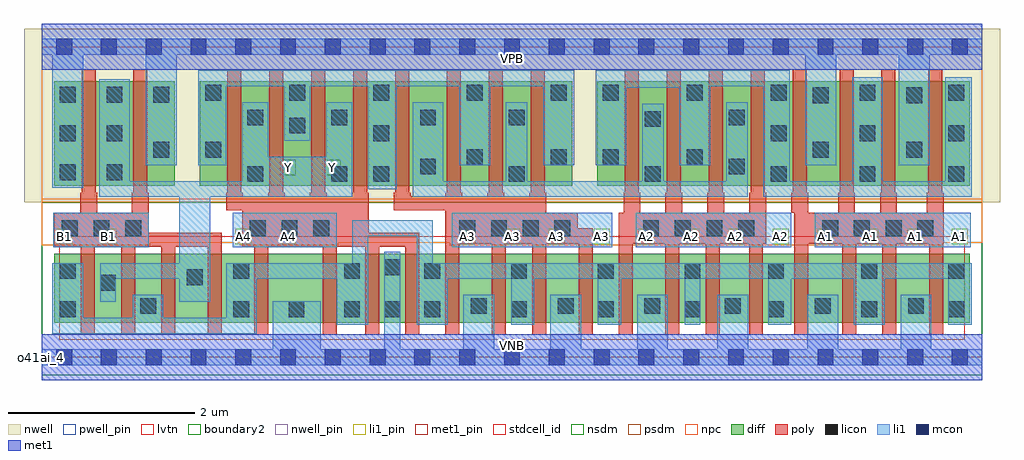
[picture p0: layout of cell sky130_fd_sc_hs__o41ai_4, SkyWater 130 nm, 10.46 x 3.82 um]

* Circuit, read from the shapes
.subckt sky130_fd_sc_hs__o41ai_4 A1 A2 A3 A4 B1 VGND VNB VPB VPWR Y
XM1 Y B1 n1 VNB sky130_fd_pr__nfet_01v8_lvt w=0.74 l=0.15 m=4
XM2 VGND A4 n1 VNB sky130_fd_pr__nfet_01v8_lvt w=0.74 l=0.15 m=4
XM3 VGND A3 n1 VNB sky130_fd_pr__nfet_01v8_lvt w=0.74 l=0.15 m=4
XM4 VGND A2 n1 VNB sky130_fd_pr__nfet_01v8_lvt w=0.74 l=0.15 m=4
XM5 VGND A1 n1 VNB sky130_fd_pr__nfet_01v8_lvt w=0.74 l=0.15 m=4
XM6 Y B1 VPWR VPB sky130_fd_pr__pfet_01v8 w=1.12 l=0.15 m=2
XM7 Y A4 n2 VPB sky130_fd_pr__pfet_01v8 w=1.12 l=0.15 m=4
XM8 n3 A3 n2 VPB sky130_fd_pr__pfet_01v8 w=1.12 l=0.15 m=4
XM9 n3 A2 n4 VPB sky130_fd_pr__pfet_01v8 w=1.12 l=0.15 m=4
XM10 VPWR A1 n4 VPB sky130_fd_pr__pfet_01v8 w=1.12 l=0.15 m=4
.ends

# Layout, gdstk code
import gdstk
lib = gdstk.Library(unit=1e-6, precision=1e-09)
def R(c, l, rs):  # rectangles x0, y0, x1, y1
    for r in rs: c.add(gdstk.rectangle(r[:2], r[2:], *l))
def A(c, l, x, y, w, h, nx, ny, dx, dy):  # array of equal rectangles
    R(c, l, [(x+i*dx, y+j*dy, x+i*dx+w, y+j*dy+h) for i in range(nx) for j in range(ny)])
def P(c, l, *ps):  # polygons
    for p in ps: c.add(gdstk.Polygon(p, *l))
nwell_pin = (64, 16)
nwell = (64, 20)
diff = (65, 20)
poly = (66, 20)
licon = (66, 44)
li1_pin = (67, 16)
li1 = (67, 20)
mcon = (67, 44)
met1_pin = (68, 16)
met1 = (68, 20)
stdcell_id = (81, 4)
nsdm = (93, 44)
psdm = (94, 20)
npc = (95, 20)
pwell_pin = (122, 16)
lvtn = (125, 44)
boundary2 = (236, 0)

sky130_fd_sc_hs__o41ai_4 = lib.new_cell('sky130_fd_sc_hs__o41ai_4')
R(sky130_fd_sc_hs__o41ai_4, nwell_pin, [(0,3.085,10.08,3.33)])
R(sky130_fd_sc_hs__o41ai_4, nwell, [(-0.19,1.66,10.27,3.52)])
R(sky130_fd_sc_hs__o41ai_4, diff, [(0.135,0.37,9.945,1.11), (0.135,1.84,1.425,2.96), (1.695,1.84,5.685,2.96), (5.955,1.84,9.945,2.96)])
P(sky130_fd_sc_hs__o41ai_4, poly, [(1.93,1.335),(1.145,1.335),(1.145,1.765),(1.13,1.765),(1.13,3.09),(0.98,3.09),(0.98,1.765),(0.965,1.765),(0.965,1.55),(0.595,1.55),(0.595,1.765),(0.58,1.765),(0.58,3.09),(0.43,3.09),(0.43,1.765),(0.415,1.765),(0.415,1.55),(0.135,1.55),(0.135,1.185),(0.42,1.185),(0.42,0.24),(0.57,0.24),(0.57,1.185),(0.85,1.185),(0.85,0.24),(1,0.24),(1,1.185),(1.28,1.185),(1.28,0.24),(1.43,0.24),(1.43,1.185),(1.78,1.185),(1.78,0.24),(1.93,0.24)],
  [(4.045,1.335),(3.505,1.335),(3.505,1.765),(3.49,1.765),(3.49,3.09),(3.34,3.09),(3.34,1.765),(3.325,1.765),(3.325,1.725),(3.055,1.725),(3.055,1.765),(3.04,1.765),(3.04,3.09),(2.89,3.09),(2.89,1.765),(2.875,1.765),(2.875,1.725),(2.605,1.725),(2.605,1.765),(2.59,1.765),(2.59,3.09),(2.44,3.09),(2.44,1.765),(2.425,1.765),(2.425,1.725),(2.155,1.725),(2.155,1.765),(2.14,1.765),(2.14,3.09),(1.99,3.09),(1.99,1.765),(1.975,1.765),(1.975,1.575),(2.15,1.575),(2.15,1.185),(2.28,1.185),(2.28,0.24),(2.43,0.24),(2.43,1.185),(3.01,1.185),(3.01,0.24),(3.16,0.24),(3.16,1.185),(3.465,1.185),(3.465,0.24),(3.615,0.24),(3.615,1.185),(3.895,1.185),(3.895,0.24),(4.045,0.24)],
  [(5.905,1.385),(5.745,1.385),(5.745,1.55),(5.405,1.55),(5.405,1.765),(5.39,1.765),(5.39,3.09),(5.24,3.09),(5.24,1.765),(5.225,1.765),(5.225,1.725),(4.955,1.725),(4.955,1.765),(4.94,1.765),(4.94,3.09),(4.79,3.09),(4.79,1.765),(4.775,1.765),(4.775,1.725),(4.505,1.725),(4.505,1.765),(4.49,1.765),(4.49,3.09),(4.34,3.09),(4.34,1.765),(4.325,1.765),(4.325,1.725),(3.955,1.725),(3.955,1.765),(3.94,1.765),(3.94,3.09),(3.79,3.09),(3.79,1.765),(3.775,1.765),(3.775,1.575),(4.325,1.575),(4.325,0.24),(4.475,0.24),(4.475,1.22),(4.825,1.22),(4.825,0.24),(4.975,0.24),(4.975,1.22),(5.255,1.22),(5.255,0.24),(5.405,0.24),(5.405,1.22),(5.755,1.22),(5.755,0.24),(5.905,0.24)],
  [(7.765,1.765),(7.75,1.765),(7.75,3.09),(7.6,3.09),(7.6,1.765),(7.585,1.765),(7.585,1.55),(7.315,1.55),(7.315,1.765),(7.3,1.765),(7.3,3.09),(7.15,3.09),(7.15,1.765),(7.135,1.765),(7.135,1.55),(6.865,1.55),(6.865,1.765),(6.85,1.765),(6.85,3.09),(6.7,3.09),(6.7,1.765),(6.685,1.765),(6.685,1.55),(6.415,1.55),(6.415,1.765),(6.4,1.765),(6.4,3.09),(6.25,3.09),(6.25,1.765),(6.235,1.765),(6.235,1.55),(6.185,1.55),(6.185,0.24),(6.335,0.24),(6.335,1.22),(6.685,1.22),(6.685,0.24),(6.835,0.24),(6.835,1.22),(7.115,1.22),(7.115,0.24),(7.265,0.24),(7.265,1.22),(7.58,1.22),(7.58,0.24),(7.73,0.24),(7.73,1.22),(7.765,1.22)],
  [(9.665,1.765),(9.65,1.765),(9.65,3.09),(9.5,3.09),(9.5,1.765),(9.485,1.765),(9.485,1.55),(9.165,1.55),(9.165,1.765),(9.15,1.765),(9.15,3.09),(9,3.09),(9,1.765),(8.985,1.765),(8.985,1.55),(8.715,1.55),(8.715,1.765),(8.7,1.765),(8.7,3.09),(8.55,3.09),(8.55,1.765),(8.535,1.765),(8.535,1.55),(8.215,1.55),(8.215,1.765),(8.2,1.765),(8.2,3.09),(8.05,3.09),(8.05,1.765),(8.035,1.765),(8.035,1.55),(8.065,1.55),(8.065,0.24),(8.215,0.24),(8.215,1.22),(8.58,1.22),(8.58,0.24),(8.73,0.24),(8.73,1.22),(9.01,1.22),(9.01,0.24),(9.16,0.24),(9.16,1.22),(9.51,1.22),(9.51,0.24),(9.66,0.24),(9.66,1.22),(9.665,1.22)])
A(sky130_fd_sc_hs__o41ai_4, licon, 3.24, 0.43, 0.17, 0.17, 3, 1, 0.43, 0)
A(sky130_fd_sc_hs__o41ai_4, licon, 5.03, 0.43, 0.17, 0.17, 3, 1, 0.93, 0)
A(sky130_fd_sc_hs__o41ai_4, licon, 4.6, 0.465, 0.17, 0.17, 3, 1, 0.93, 0)
A(sky130_fd_sc_hs__o41ai_4, licon, 4.1, 0.84, 0.17, 0.17, 4, 1, 0.93, 0)
A(sky130_fd_sc_hs__o41ai_4, licon, 0.215, 1.3, 0.17, 0.17, 3, 1, 0.34, 0)
A(sky130_fd_sc_hs__o41ai_4, licon, 2.23, 1.3, 0.17, 0.17, 3, 1, 0.34, 0)
A(sky130_fd_sc_hs__o41ai_4, licon, 4.475, 1.3, 0.17, 0.17, 4, 1, 0.34, 0)
A(sky130_fd_sc_hs__o41ai_4, licon, 6.445, 1.3, 0.17, 0.17, 4, 1, 0.34, 0)
A(sky130_fd_sc_hs__o41ai_4, licon, 8.365, 1.3, 0.17, 0.17, 4, 1, 0.34, 0)
A(sky130_fd_sc_hs__o41ai_4, licon, 7.815, 1.88, 0.17, 0.17, 3, 2, 0.95, 0.435)
A(sky130_fd_sc_hs__o41ai_4, licon, 3.105, 2.485, 0.17, 0.17, 3, 1, 0.95, 0)
A(sky130_fd_sc_hs__o41ai_4, licon, 0.195, 2.73, 0.17, 0.17, 3, 1, 0.5, 0)
A(sky130_fd_sc_hs__o41ai_4, licon, 1.755, 2.75, 0.17, 0.17, 3, 1, 0.9, 0)
A(sky130_fd_sc_hs__o41ai_4, licon, 6.015, 2.75, 0.17, 0.17, 3, 1, 0.9, 0)
R(sky130_fd_sc_hs__o41ai_4, licon, [(0.195,0.43,0.365,0.6), (2.055,0.43,2.225,0.6), (2.645,0.43,2.815,0.6), (7.785,0.43,7.955,0.6), (8.785,0.43,8.955,0.6), (9.715,0.43,9.885,0.6), (1.055,0.465,1.225,0.635), (7.32,0.465,7.49,0.635), (8.285,0.465,8.455,0.635), (9.285,0.465,9.455,0.635), (0.625,0.715,0.795,0.885), (1.555,0.775,1.725,0.945), (0.195,0.84,0.365,1.01), (2.055,0.84,2.225,1.01), (3.24,0.84,3.41,1.01), (7.785,0.84,7.955,1.01), (8.785,0.84,8.955,1.01), (9.715,0.84,9.885,1.01), (3.67,0.88,3.84,1.05), (2.205,1.88,2.375,2.05), (3.105,1.88,3.275,2.05), (3.555,1.88,3.725,2.05), (5.005,1.88,5.175,2.05), (6.465,1.88,6.635,2.05), (0.195,1.9,0.365,2.07), (0.695,1.9,0.865,2.07), (4.055,1.96,4.225,2.13), (7.365,1.96,7.535,2.13), (4.555,2.06,4.725,2.23), (5.455,2.06,5.625,2.23), (6.015,2.06,6.185,2.23), (6.915,2.06,7.085,2.23), (1.195,2.14,1.365,2.31), (1.755,2.14,1.925,2.31), (8.265,2.14,8.435,2.31), (9.265,2.14,9.435,2.31), (0.195,2.315,0.365,2.485), (0.695,2.315,0.865,2.485), (3.555,2.315,3.725,2.485), (2.655,2.4,2.825,2.57), (6.465,2.47,6.635,2.64), (2.205,2.485,2.375,2.655), (7.365,2.485,7.535,2.655), (8.265,2.725,8.435,2.895), (9.265,2.725,9.435,2.895), (4.555,2.75,4.725,2.92), (5.455,2.75,5.625,2.92), (8.765,2.75,8.935,2.92), (9.715,2.75,9.885,2.92)])
A(sky130_fd_sc_hs__o41ai_4, li1_pin, 4.475, 1.21, 0.17, 0.17, 12, 1, 0.48, 0)
R(sky130_fd_sc_hs__o41ai_4, li1_pin, [(0.155,1.21,0.325,1.38), (0.635,1.21,0.805,1.38), (2.075,1.21,2.245,1.38), (2.555,1.21,2.725,1.38), (2.555,1.95,2.725,2.12), (3.035,1.95,3.205,2.12)])
R(sky130_fd_sc_hs__o41ai_4, li1, [(0.125,1.18,1.145,1.55), (2.045,1.18,3.16,1.55), (4.395,1.18,6.115,1.55), (6.365,1.18,8.035,1.55), (8.285,1.18,9.955,1.55)])
P(sky130_fd_sc_hs__o41ai_4, li1, [(3.33,2.735),(3.05,2.735),(3.05,2.15),(2.43,2.15),(2.43,2.735),(2.15,2.735),(2.15,1.89),(0.945,1.89),(0.945,2.98),(0.615,2.98),(0.615,1.72),(1.475,1.72),(1.475,1.01),(0.625,1.01),(0.625,0.595),(0.795,0.595),(0.795,0.84),(1.475,0.84),(1.475,0.595),(1.805,0.595),(1.805,1.72),(3.33,1.72)],
  [(9.965,3),(9.685,3),(9.685,1.89),(9.015,1.89),(9.015,3),(8.685,3),(8.685,1.89),(8.015,1.89),(8.015,3.075),(5.935,3.075),(5.935,2.06),(6.265,2.06),(6.265,2.89),(6.835,2.89),(6.835,2.06),(7.165,2.06),(7.165,2.905),(7.735,2.905),(7.735,1.72),(9.965,1.72)],
  [(7.565,2.735),(7.335,2.735),(7.335,1.89),(6.665,1.89),(6.665,2.72),(6.435,2.72),(6.435,1.89),(5.205,1.89),(5.205,2.735),(4.975,2.735),(4.975,1.89),(4.305,1.89),(4.305,2.735),(3.975,2.735),(3.975,1.72),(7.565,1.72)],
  [(9.715,0.84),(9.035,0.84),(9.035,0.35),(8.705,0.35),(8.705,0.84),(8.035,0.84),(8.035,0.35),(7.785,0.35),(7.785,0.84),(7.06,0.84),(7.06,0.35),(6.89,0.35),(6.89,0.84),(6.21,0.84),(6.21,0.35),(5.96,0.35),(5.96,0.84),(5.28,0.84),(5.28,0.35),(5.03,0.35),(5.03,0.84),(4.35,0.84),(4.35,0.35),(4.02,0.35),(4.02,1.3),(3.5,1.3),(3.5,0.35),(3.16,0.35),(3.16,0.84),(2.305,0.84),(2.305,0.255),(0.115,0.255),(0.115,1.01),(0.445,1.01),(0.445,0.425),(0.975,0.425),(0.975,0.67),(1.305,0.67),(1.305,0.425),(1.975,0.425),(1.975,1.01),(3.33,1.01),(3.33,1.47),(4.19,1.47),(4.19,1.01),(9.965,1.01),(9.965,0.35),(9.715,0.35)],
  [(5.705,3.075),(1.675,3.075),(1.675,2.06),(1.98,2.06),(1.98,2.905),(2.6,2.905),(2.6,2.32),(2.88,2.32),(2.88,2.905),(3.5,2.905),(3.5,1.8),(3.805,1.8),(3.805,2.905),(4.475,2.905),(4.475,2.06),(4.805,2.06),(4.805,2.905),(5.375,2.905),(5.375,2.06),(5.705,2.06)],
  [(10.08,3.415),(0,3.415),(0,3.245),(0.115,3.245),(0.115,1.82),(0.445,1.82),(0.445,3.245),(1.115,3.245),(1.115,2.06),(1.445,2.06),(1.445,3.245),(8.185,3.245),(8.185,2.06),(8.515,2.06),(8.515,3.245),(9.185,3.245),(9.185,2.06),(9.515,2.06),(9.515,3.245),(10.08,3.245)],
  [(0,-0.085),(0,0.085),(2.475,0.085),(2.475,0.6),(2.99,0.6),(2.99,0.085),(3.67,0.085),(3.67,1.13),(3.84,1.13),(3.84,0.085),(4.52,0.085),(4.52,0.67),(4.85,0.67),(4.85,0.085),(5.45,0.085),(5.45,0.67),(5.78,0.67),(5.78,0.085),(6.38,0.085),(6.38,0.67),(6.71,0.67),(6.71,0.085),(7.24,0.085),(7.24,0.67),(7.57,0.67),(7.57,0.085),(8.205,0.085),(8.205,0.67),(8.535,0.67),(8.535,0.085),(9.205,0.085),(9.205,0.67),(9.535,0.67),(9.535,0.085),(10.08,0.085),(10.08,-0.085)])
A(sky130_fd_sc_hs__o41ai_4, mcon, 0.155, -0.085, 0.17, 0.17, 21, 2, 0.48, 3.33)
R(sky130_fd_sc_hs__o41ai_4, met1_pin, [(0,0,10.08,0.245), (0,3.085,10.08,3.33)])
R(sky130_fd_sc_hs__o41ai_4, met1, [(0,-0.245,10.08,0.245), (0,3.085,10.08,3.575)])
R(sky130_fd_sc_hs__o41ai_4, stdcell_id, [(0,0,10.08,3.33)])
R(sky130_fd_sc_hs__o41ai_4, nsdm, [(0,-0.19,10.08,1.66)])
R(sky130_fd_sc_hs__o41ai_4, psdm, [(0,1.66,10.08,3.52)])
P(sky130_fd_sc_hs__o41ai_4, npc, [(10.08,1.7),(0,1.7),(0,1.2),(1.165,1.2),(1.165,1.23),(2.13,1.23),(2.13,1.2),(3.18,1.2),(3.18,1.23),(4.375,1.23),(4.375,1.2),(9.655,1.2),(9.655,1.23),(10.08,1.23)])
R(sky130_fd_sc_hs__o41ai_4, pwell_pin, [(0,0,10.08,0.245)])
R(sky130_fd_sc_hs__o41ai_4, lvtn, [(0.19,0.19,9.89,1.3)])
R(sky130_fd_sc_hs__o41ai_4, boundary2, [(0,0,10.08,3.33)])
sky130_fd_sc_hs__o41ai_4.add(gdstk.Label('o41ai_4', (0,0), layer=83, texttype=44))
sky130_fd_sc_hs__o41ai_4.add(gdstk.Label('VNB', (5.04,0.123), layer=64, texttype=59))
sky130_fd_sc_hs__o41ai_4.add(gdstk.Label('VPB', (5.04,3.208), layer=64, texttype=5))
sky130_fd_sc_hs__o41ai_4.add(gdstk.Label('VPWR', (5.04,3.208), layer=68, texttype=5))
sky130_fd_sc_hs__o41ai_4.add(gdstk.Label('VGND', (5.04,0.123), layer=68, texttype=5))
sky130_fd_sc_hs__o41ai_4.add(gdstk.Label('A1', (8.4,1.295), layer=67, texttype=5))
sky130_fd_sc_hs__o41ai_4.add(gdstk.Label('A1', (8.88,1.295), layer=67, texttype=5))
sky130_fd_sc_hs__o41ai_4.add(gdstk.Label('A1', (9.36,1.295), layer=67, texttype=5))
sky130_fd_sc_hs__o41ai_4.add(gdstk.Label('A1', (9.84,1.295), layer=67, texttype=5))
sky130_fd_sc_hs__o41ai_4.add(gdstk.Label('A2', (6.48,1.295), layer=67, texttype=5))
sky130_fd_sc_hs__o41ai_4.add(gdstk.Label('A2', (6.96,1.295), layer=67, texttype=5))
sky130_fd_sc_hs__o41ai_4.add(gdstk.Label('A2', (7.44,1.295), layer=67, texttype=5))
sky130_fd_sc_hs__o41ai_4.add(gdstk.Label('A2', (7.92,1.295), layer=67, texttype=5))
sky130_fd_sc_hs__o41ai_4.add(gdstk.Label('A3', (4.56,1.295), layer=67, texttype=5))
sky130_fd_sc_hs__o41ai_4.add(gdstk.Label('A3', (5.04,1.295), layer=67, texttype=5))
sky130_fd_sc_hs__o41ai_4.add(gdstk.Label('A3', (5.52,1.295), layer=67, texttype=5))
sky130_fd_sc_hs__o41ai_4.add(gdstk.Label('A3', (6,1.295), layer=67, texttype=5))
sky130_fd_sc_hs__o41ai_4.add(gdstk.Label('A4', (2.16,1.295), layer=67, texttype=5))
sky130_fd_sc_hs__o41ai_4.add(gdstk.Label('A4', (2.64,1.295), layer=67, texttype=5))
sky130_fd_sc_hs__o41ai_4.add(gdstk.Label('B1', (0.24,1.295), layer=67, texttype=5))
sky130_fd_sc_hs__o41ai_4.add(gdstk.Label('B1', (0.72,1.295), layer=67, texttype=5))
sky130_fd_sc_hs__o41ai_4.add(gdstk.Label('Y', (2.64,2.035), layer=67, texttype=5))
sky130_fd_sc_hs__o41ai_4.add(gdstk.Label('Y', (3.12,2.035), layer=67, texttype=5))

lib.write_gds('sky130_fd_sc_hs__o41ai_4.gds')
